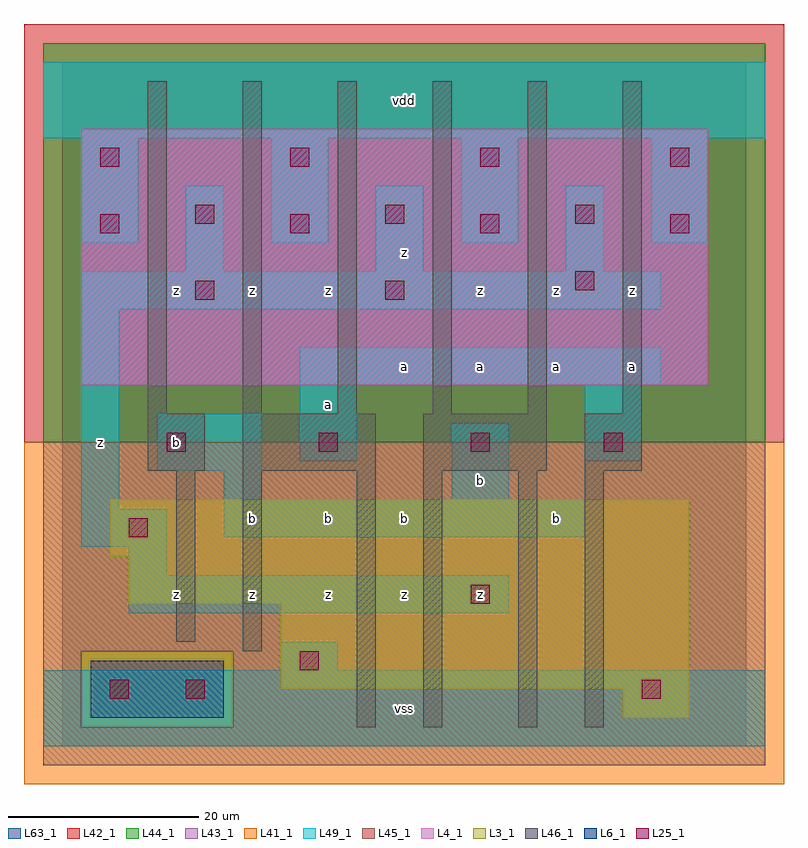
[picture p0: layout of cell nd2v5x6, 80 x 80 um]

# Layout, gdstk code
import gdstk
lib = gdstk.Library(unit=1e-6, precision=1e-09)
def R(c, l, rs):  # rectangles x0, y0, x1, y1
    for r in rs: c.add(gdstk.rectangle(r[:2], r[2:], *l))
def A(c, l, x, y, w, h, nx, ny, dx, dy):  # array of equal rectangles
    R(c, l, [(x+i*dx, y+j*dy, x+i*dx+w, y+j*dy+h) for i in range(nx) for j in range(ny)])
L3_1 = (3, 1)
L4_1 = (4, 1)
L6_1 = (6, 1)
L25_1 = (25, 1)
L41_1 = (41, 1)
L42_1 = (42, 1)
L43_1 = (43, 1)
L44_1 = (44, 1)
L45_1 = (45, 1)
L46_1 = (46, 1)
L49_1 = (49, 1)
L63_1 = (63, 1)

nd2v5x6 = lib.new_cell('nd2v5x6')
R(nd2v5x6, L3_1, [(59,3,66,6), (23,6,66,15), (7,15,66,20), (5,20,66,26)])
R(nd2v5x6, L4_1, [(2,38,68,65)])
R(nd2v5x6, L6_1, [(3,3,17,9), (3,3,17,9)])
A(nd2v5x6, L25_1, 11, 31, 2, 2, 3, 1, 16, 0)
A(nd2v5x6, L25_1, 4, 54, 2, 2, 4, 2, 20, 7)
A(nd2v5x6, L25_1, 14, 55, 2, 2, 3, 1, 20, 0)
R(nd2v5x6, L25_1, [(5,5,7,7), (13,5,15,7), (61,5,63,7), (25,8,27,10), (43,15,45,17), (7,22,9,24), (57,31,59,33), (14,47,16,49), (34,47,36,49), (54,48,56,50)])
R(nd2v5x6, L41_1, [(-4,-4,76,32)])
R(nd2v5x6, L42_1, [(-4,32,76,76)])
R(nd2v5x6, L43_1, [(3,3,17,9), (59,3,66,6), (23,6,66,15), (7,15,66,20), (5,20,66,26), (2,38,68,65)])
R(nd2v5x6, L44_1, [(2,2,18,10), (-2,32,74,74)])
R(nd2v5x6, L45_1, [(-2,-2,74,2), (-2,2,2,10), (18,2,74,10), (-2,10,74,32)])
A(nd2v5x6, L46_1, 9, 35, 2, 35, 6, 1, 10, 0)
R(nd2v5x6, L46_1, [(31,2,33,29), (38,2,40,29), (48,2,50,29), (55,2,57,29), (19,10,21,29), (12,11,14,29), (9,29,15,35), (19,29,33,35), (38,29,51,35), (55,29,61,35)])
A(nd2v5x6, L49_1, 2, 53, 6, 11, 4, 1, 20, 0)
R(nd2v5x6, L49_1, [(-2,0,74,8), (23,8,29,11), (7,14,47,18), (7,18,11,21), (2,21,11,25), (17,22,55,26), (2,25,6,46), (17,26,21,29), (41,26,47,34), (10,29,21,35), (25,30,31,38), (55,30,61,38), (25,38,63,42), (2,46,63,50), (13,50,17,59), (33,50,38,59), (53,50,57,59), (-2,64,74,72)])
R(nd2v5x6, L63_1, [(0,0,72,72)])
nd2v5x6.add(gdstk.Label('z', (4,32), layer=49, texttype=1))
nd2v5x6.add(gdstk.Label('z', (20,16), layer=49, texttype=1))
nd2v5x6.add(gdstk.Label('z', (12,16), layer=49, texttype=1))
nd2v5x6.add(gdstk.Label('b', (20,24), layer=49, texttype=1))
nd2v5x6.add(gdstk.Label('b', (12,32), layer=49, texttype=1))
nd2v5x6.add(gdstk.Label('z', (12,48), layer=49, texttype=1))
nd2v5x6.add(gdstk.Label('z', (20,48), layer=49, texttype=1))
nd2v5x6.add(gdstk.Label('vss', (36,4), layer=49, texttype=1))
nd2v5x6.add(gdstk.Label('z', (36,16), layer=49, texttype=1))
nd2v5x6.add(gdstk.Label('z', (28,16), layer=49, texttype=1))
nd2v5x6.add(gdstk.Label('b', (28,24), layer=49, texttype=1))
nd2v5x6.add(gdstk.Label('b', (36,24), layer=49, texttype=1))
nd2v5x6.add(gdstk.Label('a', (28,36), layer=49, texttype=1))
nd2v5x6.add(gdstk.Label('a', (36,40), layer=49, texttype=1))
nd2v5x6.add(gdstk.Label('z', (28,48), layer=49, texttype=1))
nd2v5x6.add(gdstk.Label('z', (36,52), layer=49, texttype=1))
nd2v5x6.add(gdstk.Label('vdd', (36,68), layer=49, texttype=1))
nd2v5x6.add(gdstk.Label('z', (44,16), layer=49, texttype=1))
nd2v5x6.add(gdstk.Label('b', (52,24), layer=49, texttype=1))
nd2v5x6.add(gdstk.Label('b', (44,28), layer=49, texttype=1))
nd2v5x6.add(gdstk.Label('a', (44,40), layer=49, texttype=1))
nd2v5x6.add(gdstk.Label('a', (52,40), layer=49, texttype=1))
nd2v5x6.add(gdstk.Label('z', (44,48), layer=49, texttype=1))
nd2v5x6.add(gdstk.Label('z', (52,48), layer=49, texttype=1))
nd2v5x6.add(gdstk.Label('a', (60,40), layer=49, texttype=1))
nd2v5x6.add(gdstk.Label('z', (60,48), layer=49, texttype=1))

lib.write_gds('nd2v5x6.gds')
